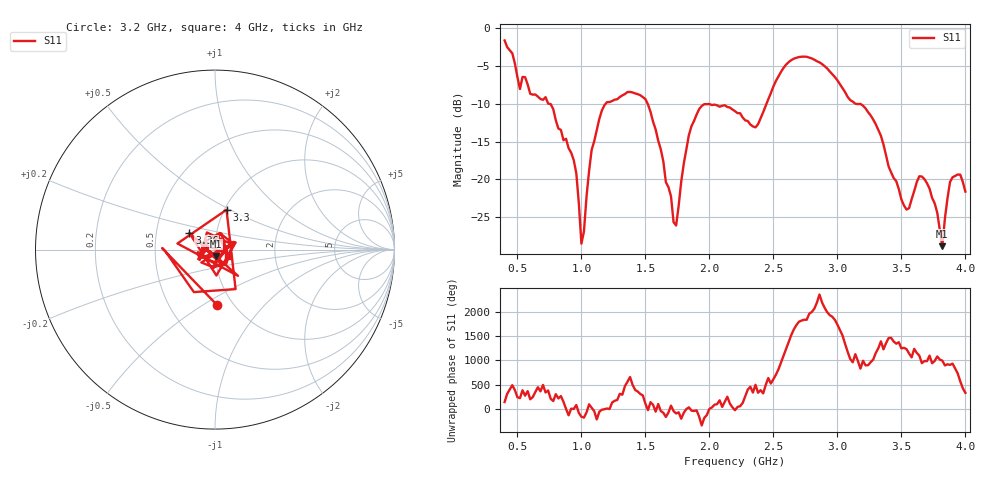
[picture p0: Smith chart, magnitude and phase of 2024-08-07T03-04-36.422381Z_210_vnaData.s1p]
!Created with skrf (http://scikit-rf.org).
# Hz S RI R 50.0
!freq ReS11 ImS11
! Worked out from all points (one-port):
!   181 points, 400 MHz to 4 GHz, reference 50 ohm
!   lowest |S11| = -28.8 dB at 3.82 GHz (marker M1), VSWR 1.08, Z = 50.2 - j3.64 ohm
!   |S11| at or under -10 dB: 742.8 MHz to 1.19 GHz (447.3 MHz wide, 46.3 % of centre); 1.517 GHz to 2.446 GHz (929.2 MHz wide, 46.9 % of centre); 3.139 GHz to end of sweep
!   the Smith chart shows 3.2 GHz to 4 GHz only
!   S11 on the Smith chart (normalised r, x): 3.2 GHz: 0.84, -0.57; 3.3 GHz: 1.02, +0.48; 3.36 GHz: 0.74, +0.14; 4 GHz: 1.16, -0.08
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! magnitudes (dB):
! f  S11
! 400 MHz  -1.7
! 520 MHz  -8.1
! 720 MHz  -9.1
! 860 MHz  -14.8
! 960 MHz  -19.2
! 1 GHz  -28.5
! 1.08 GHz  -16.1
! 1.14 GHz  -12.0
! 1.3 GHz  -9.1
! 1.5 GHz  -9.4
! 1.62 GHz  -16.0
! 1.72 GHz  -25.6
! 1.76 GHz  -23.5
! 1.84 GHz  -14.1
! 1.92 GHz  -10.7
! 2.2 GHz  -11.0
! 2.36 GHz  -13.1
! 2.66 GHz  -4.1
! 2.88 GHz  -4.8
! 3.1 GHz  -9.5
! 3.2 GHz  -10.3
! 3.3 GHz  -12.7
! 3.36 GHz  -15.4
! 3.56 GHz  -23.8
! 3.68 GHz  -20.0
! 3.82 GHz  -28.8
! 3.88 GHz  -20.3
! 4 GHz  -21.6
